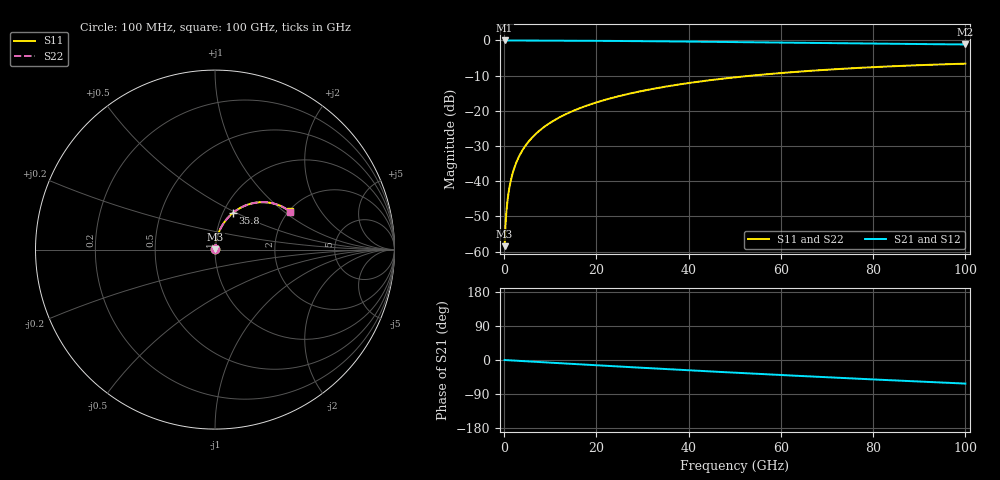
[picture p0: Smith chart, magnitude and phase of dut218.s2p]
! Touchstone file exported from HFSS 2026.1.0
!  File:  C:/ffzhzh/LocalFiles/Ansys_Project_Files/temp_train_RDL_218_1783500983_31944.aedt
!  Generated:  04:57:29 PM Jul  8, 2026
!  Design:  RDL
!  Project:  temp_train_RDL_218_1783500983_31944
! Variables:
!  h_bsmrdl = 2um
!  h_ox = 20um
!  h_rdl = 5um
!  h_sub = 80um
!  h_tmrdl = 3.84um
!  h_tsv = 80um
!  h_via = 3um
!  l_bsmrdl = 300um
!  l_sub = 574.11um
!  l_tmrdl = 174.11um
!  m_sub = 200um
!  pitch = 45.27um
!  r_tsv = 6um
!  s_tmrdl = 10um
!  w_bsmrdl = 18um
!  w_sub = 500um
!  w_tmrdl = 22.69um
!  x_tsv_center1 = 185.455um
!  x_tsv_center2 = 503.455um
!  x_tsv_center3 = 700.255um
!  x_tsv_center4 = 1018.255um
!  x_tsv_center5 = 1215.055um
!  x_tsv_center6 = 1533.055um
# GHz S MA R 50.000000
! Terminal data exported
! Port[1] = TM_RDL1_1_T1
! Port[2] = TM_RDL1_1_T2
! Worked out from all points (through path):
!   1000 points, 100 MHz to 100 GHz, reference 50 ohm
!   highest |S21| = -0.01 dB at 100 MHz (marker M1); lowest = -1.1 dB at 100 GHz (marker M2)
!   group delay of S21, straight-line fit = 1.73 ps
!   lowest |S11| = -58.5 dB at 100 MHz (marker M3), VSWR 1.00, Z = 50.1 + j0.0772 ohm
!   |S11| at or under -10 dB: start of sweep to 53.68 GHz
!   |S22| runs from -58.5 to -6.6 dB; largest |S21 - S12| = 4.1e-15
!   S11 on the Smith chart (normalised r, x): 100 MHz: 1.00, +0.00; 35.8 GHz: 1.11, +0.47; 100 GHz: 2.03, +1.10
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0.1  0.001194 40.2  0.9991 -0.1  0.9991 -0.1  0.001194 40.2
! Gamma 0 0 0 0
! Port Impedance 50 0 50 0
0.3  0.002447 65.4  0.999 -0.2  0.999 -0.2  0.002447 65.4
0.7  0.005118 76.8  0.9989 -0.5  0.9989 -0.5  0.005118 76.8
0.9  0.006476 79.1  0.9988 -0.6  0.9988 -0.6  0.006476 79.1
1.2  0.00853 81.1  0.9988 -0.9  0.9988 -0.9  0.00853 81.1
1.5  0.01059 82.3  0.9987 -1.1  0.9987 -1.1  0.01059 82.3
2  0.01404 83.3  0.9986 -1.4  0.9986 -1.4  0.01404 83.3
2.5  0.01749 83.7  0.9985 -1.8  0.9985 -1.8  0.01749 83.7
3.2  0.0223 83.9  0.9983 -2.3  0.9983 -2.3  0.0223 83.9
4  0.02776 83.7  0.998 -2.8  0.998 -2.8  0.02776 83.7
5  0.03454 83.3  0.9975 -3.6  0.9975 -3.6  0.03454 83.3
6.1  0.04194 82.8  0.997 -4.3  0.997 -4.3  0.04194 82.8
8.9  0.06051 81.2  0.9955 -6.3  0.9955 -6.3  0.06051 81.2
12.4  0.08333 79.1  0.9932 -8.7  0.9932 -8.7  0.08333 79.1
16.8  0.1115 76.3  0.9899 -11.7  0.9899 -11.7  0.1115 76.3
24.2  0.1575 71.6  0.9829 -16.7  0.9829 -16.7  0.1575 71.6
33.4  0.2116 65.7  0.972 -22.8  0.972 -22.8  0.2116 65.7
35.8  0.2251 64.2  0.9688 -24.4  0.9688 -24.4  0.2251 64.2
50.1  0.2994 55.3  0.9479 -33.5  0.9479 -33.5  0.2994 55.3
66.7  0.3712 45.4  0.9218 -43.6  0.9218 -43.6  0.3712 45.4
83.4  0.4274 36.0  0.897 -53.2  0.897 -53.2  0.4274 35.9
100  0.4678 27.0  0.8765 -62.3  0.8765 -62.3  0.4678 27.0
